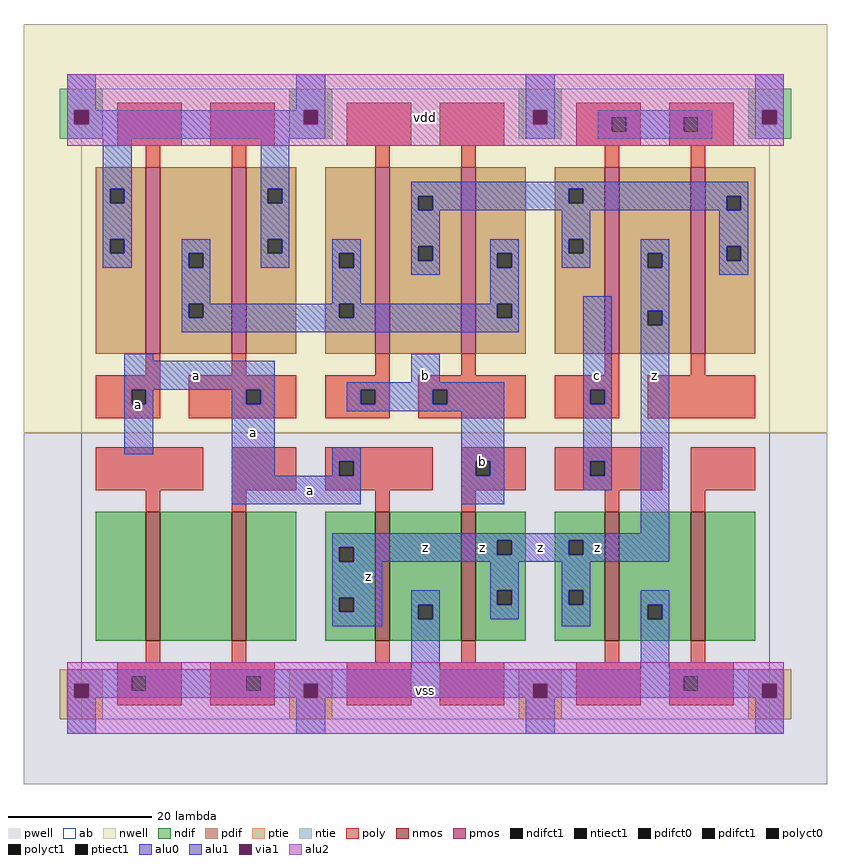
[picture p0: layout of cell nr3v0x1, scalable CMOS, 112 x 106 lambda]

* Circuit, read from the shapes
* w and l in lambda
.subckt nr3v0x1 a b c vdd vss z
M1 n1 vss n2 vss nfet w=18 l=2
M2 n3 vss n1 vss nfet w=18 l=2
M3 vss a z vss nfet w=18 l=2
M4 z b vss vss nfet w=18 l=2
M5 vss c z vss nfet w=18 l=2
M6 n4 vss vss vss nfet w=18 l=2
M7 n5 a vdd vdd pfet w=26 l=2 m=2
M8 n6 b n5 vdd pfet w=26 l=2 m=2
M9 z c n6 vdd pfet w=26 l=2 m=2
.ends

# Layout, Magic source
magic
tech scmos
<< ab >>
rect 0 0 96 88
<< nwell >>
rect -8 40 104 97
<< pwell >>
rect -8 -9 104 40
<< poly >>
rect 5 80 14 86
rect 18 80 27 86
rect 37 80 46 86
rect 50 80 59 86
rect 69 84 78 86
rect 69 82 74 84
rect 76 82 78 84
rect 69 80 78 82
rect 82 84 91 86
rect 82 82 84 84
rect 86 82 91 84
rect 82 80 91 82
rect 9 77 11 80
rect 21 77 23 80
rect 41 77 43 80
rect 53 77 55 80
rect 73 77 75 80
rect 85 77 87 80
rect 9 48 11 51
rect 21 48 23 51
rect 41 48 43 51
rect 53 48 55 51
rect 73 48 75 51
rect 85 48 87 51
rect 2 46 11 48
rect 2 44 7 46
rect 9 44 11 46
rect 2 42 11 44
rect 15 46 30 48
rect 15 44 23 46
rect 25 44 30 46
rect 15 42 30 44
rect 34 46 43 48
rect 34 44 39 46
rect 41 44 43 46
rect 34 42 43 44
rect 47 46 62 48
rect 47 44 49 46
rect 51 44 62 46
rect 47 42 62 44
rect 66 46 75 48
rect 66 44 71 46
rect 73 44 75 46
rect 66 42 75 44
rect 79 42 94 48
rect 2 32 17 38
rect 21 32 30 38
rect 34 36 49 38
rect 34 34 36 36
rect 38 34 49 36
rect 34 32 49 34
rect 53 36 62 38
rect 53 34 55 36
rect 57 34 62 36
rect 53 32 62 34
rect 66 36 81 38
rect 66 34 71 36
rect 73 34 81 36
rect 66 32 81 34
rect 85 32 94 38
rect 9 29 11 32
rect 21 29 23 32
rect 41 29 43 32
rect 53 29 55 32
rect 73 29 75 32
rect 85 29 87 32
rect 9 8 11 11
rect 21 8 23 11
rect 41 8 43 11
rect 53 8 55 11
rect 73 8 75 11
rect 85 8 87 11
rect 5 6 14 8
rect 5 4 7 6
rect 9 4 14 6
rect 5 2 14 4
rect 18 6 27 8
rect 18 4 23 6
rect 25 4 27 6
rect 18 2 27 4
rect 37 2 46 8
rect 50 2 59 8
rect 69 2 78 8
rect 82 6 91 8
rect 82 4 84 6
rect 86 4 91 6
rect 82 2 91 4
<< ndif >>
rect 2 11 9 29
rect 11 11 21 29
rect 23 11 30 29
rect 34 24 41 29
rect 34 22 36 24
rect 38 22 41 24
rect 34 17 41 22
rect 34 15 36 17
rect 38 15 41 17
rect 34 11 41 15
rect 43 16 53 29
rect 43 14 47 16
rect 49 14 53 16
rect 43 11 53 14
rect 55 25 62 29
rect 55 23 58 25
rect 60 23 62 25
rect 55 18 62 23
rect 55 16 58 18
rect 60 16 62 18
rect 55 11 62 16
rect 66 25 73 29
rect 66 23 68 25
rect 70 23 73 25
rect 66 18 73 23
rect 66 16 68 18
rect 70 16 73 18
rect 66 11 73 16
rect 75 16 85 29
rect 75 14 79 16
rect 81 14 85 16
rect 75 11 85 14
rect 87 11 94 29
<< pdif >>
rect 2 74 9 77
rect 2 72 4 74
rect 6 72 9 74
rect 2 67 9 72
rect 2 65 4 67
rect 6 65 9 67
rect 2 51 9 65
rect 11 65 21 77
rect 11 63 15 65
rect 17 63 21 65
rect 11 58 21 63
rect 11 56 15 58
rect 17 56 21 58
rect 11 51 21 56
rect 23 74 30 77
rect 23 72 26 74
rect 28 72 30 74
rect 23 67 30 72
rect 23 65 26 67
rect 28 65 30 67
rect 23 51 30 65
rect 34 65 41 77
rect 34 63 36 65
rect 38 63 41 65
rect 34 58 41 63
rect 34 56 36 58
rect 38 56 41 58
rect 34 51 41 56
rect 43 73 53 77
rect 43 71 47 73
rect 49 71 53 73
rect 43 66 53 71
rect 43 64 47 66
rect 49 64 53 66
rect 43 51 53 64
rect 55 65 62 77
rect 55 63 58 65
rect 60 63 62 65
rect 55 58 62 63
rect 55 56 58 58
rect 60 56 62 58
rect 55 51 62 56
rect 66 74 73 77
rect 66 72 68 74
rect 70 72 73 74
rect 66 67 73 72
rect 66 65 68 67
rect 70 65 73 67
rect 66 51 73 65
rect 75 65 85 77
rect 75 63 79 65
rect 81 63 85 65
rect 75 57 85 63
rect 75 55 79 57
rect 81 55 85 57
rect 75 51 85 55
rect 87 73 94 77
rect 87 71 90 73
rect 92 71 94 73
rect 87 66 94 71
rect 87 64 90 66
rect 92 64 94 66
rect 87 51 94 64
<< alu1 >>
rect -2 85 2 90
rect 30 85 34 90
rect -2 83 -1 85
rect 1 83 31 85
rect 33 83 34 85
rect -2 81 34 83
rect 62 85 66 90
rect 94 85 98 90
rect 62 83 63 85
rect 65 83 66 85
rect 62 81 66 83
rect 94 83 95 85
rect 97 83 98 85
rect 94 81 98 83
rect 3 74 7 81
rect 3 72 4 74
rect 6 72 7 74
rect 3 67 7 72
rect 25 74 29 81
rect 25 72 26 74
rect 28 72 29 74
rect 25 67 29 72
rect 3 65 4 67
rect 6 65 7 67
rect 3 63 7 65
rect 25 65 26 67
rect 28 65 29 67
rect 25 63 29 65
rect 78 65 82 67
rect 78 63 79 65
rect 81 63 82 65
rect 6 50 10 51
rect 6 46 27 50
rect 46 47 50 51
rect 6 44 7 46
rect 9 44 10 46
rect 6 37 10 44
rect 21 44 23 46
rect 25 44 27 46
rect 21 34 27 44
rect 37 46 59 47
rect 37 44 39 46
rect 41 44 49 46
rect 51 44 59 46
rect 37 43 59 44
rect 35 36 39 38
rect 35 34 36 36
rect 38 34 39 36
rect 21 30 39 34
rect 53 36 59 43
rect 53 34 55 36
rect 57 34 59 36
rect 53 30 59 34
rect 70 46 74 59
rect 70 44 71 46
rect 73 44 74 46
rect 70 36 74 44
rect 70 34 71 36
rect 73 34 74 36
rect 70 32 74 34
rect 78 57 82 63
rect 78 55 79 57
rect 81 55 82 57
rect 78 26 82 55
rect 35 25 82 26
rect 35 24 58 25
rect 35 22 36 24
rect 38 23 58 24
rect 60 23 68 25
rect 70 23 82 25
rect 38 22 82 23
rect 35 17 42 22
rect 57 18 61 22
rect 35 15 36 17
rect 38 15 42 17
rect 35 13 42 15
rect 46 16 50 18
rect 46 14 47 16
rect 49 14 50 16
rect 57 16 58 18
rect 60 16 61 18
rect 57 14 61 16
rect 67 18 71 22
rect 67 16 68 18
rect 70 16 71 18
rect 46 7 50 14
rect 67 13 71 16
rect 78 16 82 18
rect 78 14 79 16
rect 81 14 82 16
rect 78 7 82 14
rect -2 6 98 7
rect -2 5 7 6
rect -2 3 -1 5
rect 1 4 7 5
rect 9 4 23 6
rect 25 5 84 6
rect 25 4 31 5
rect 1 3 31 4
rect 33 3 63 5
rect 65 4 84 5
rect 86 5 98 6
rect 86 4 95 5
rect 65 3 95 4
rect 97 3 98 5
rect -2 -2 2 3
rect 30 -2 34 3
rect 62 -2 66 3
rect 94 -2 98 3
<< alu2 >>
rect -2 85 98 90
rect -2 83 -1 85
rect 1 83 31 85
rect 33 83 63 85
rect 65 83 95 85
rect 97 83 98 85
rect -2 80 98 83
rect -2 5 98 8
rect -2 3 -1 5
rect 1 3 31 5
rect 33 3 63 5
rect 65 3 95 5
rect 97 3 98 5
rect -2 -2 98 3
<< ptie >>
rect -3 5 3 7
rect -3 3 -1 5
rect 1 3 3 5
rect -3 0 3 3
rect 29 5 35 7
rect 29 3 31 5
rect 33 3 35 5
rect 29 0 35 3
rect 61 5 67 7
rect 61 3 63 5
rect 65 3 67 5
rect 61 0 67 3
rect 93 5 99 7
rect 93 3 95 5
rect 97 3 99 5
rect 93 0 99 3
<< ntie >>
rect -3 85 3 88
rect -3 83 -1 85
rect 1 83 3 85
rect -3 81 3 83
rect 29 85 35 88
rect 29 83 31 85
rect 33 83 35 85
rect 29 81 35 83
rect 61 85 67 88
rect 61 83 63 85
rect 65 83 67 85
rect 61 81 67 83
rect 93 85 99 88
rect 93 83 95 85
rect 97 83 99 85
rect 93 81 99 83
<< nmos >>
rect 9 11 11 29
rect 21 11 23 29
rect 41 11 43 29
rect 53 11 55 29
rect 73 11 75 29
rect 85 11 87 29
<< pmos >>
rect 9 51 11 77
rect 21 51 23 77
rect 41 51 43 77
rect 53 51 55 77
rect 73 51 75 77
rect 85 51 87 77
<< polyct0 >>
rect 74 82 76 84
rect 84 82 86 84
<< polyct1 >>
rect 7 44 9 46
rect 23 44 25 46
rect 39 44 41 46
rect 49 44 51 46
rect 71 44 73 46
rect 36 34 38 36
rect 55 34 57 36
rect 71 34 73 36
rect 7 4 9 6
rect 23 4 25 6
rect 84 4 86 6
<< ndifct1 >>
rect 36 22 38 24
rect 36 15 38 17
rect 47 14 49 16
rect 58 23 60 25
rect 58 16 60 18
rect 68 23 70 25
rect 68 16 70 18
rect 79 14 81 16
<< ntiect1 >>
rect -1 83 1 85
rect 31 83 33 85
rect 63 83 65 85
rect 95 83 97 85
<< ptiect1 >>
rect -1 3 1 5
rect 31 3 33 5
rect 63 3 65 5
rect 95 3 97 5
<< pdifct0 >>
rect 15 63 17 65
rect 15 56 17 58
rect 36 63 38 65
rect 36 56 38 58
rect 47 71 49 73
rect 47 64 49 66
rect 58 63 60 65
rect 58 56 60 58
rect 68 72 70 74
rect 68 65 70 67
rect 90 71 92 73
rect 90 64 92 66
<< pdifct1 >>
rect 4 72 6 74
rect 4 65 6 67
rect 26 72 28 74
rect 26 65 28 67
rect 79 63 81 65
rect 79 55 81 57
<< alu0 >>
rect 72 84 88 85
rect 72 82 74 84
rect 76 82 84 84
rect 86 82 88 84
rect 72 81 88 82
rect 46 74 93 75
rect 46 73 68 74
rect 46 71 47 73
rect 49 72 68 73
rect 70 73 93 74
rect 70 72 90 73
rect 49 71 90 72
rect 92 71 93 73
rect 14 65 18 67
rect 14 63 15 65
rect 17 63 18 65
rect 35 65 39 67
rect 35 63 36 65
rect 38 63 39 65
rect 14 58 18 63
rect 35 58 39 63
rect 46 66 50 71
rect 67 67 71 71
rect 46 64 47 66
rect 49 64 50 66
rect 46 62 50 64
rect 57 65 61 67
rect 57 63 58 65
rect 60 63 61 65
rect 67 65 68 67
rect 70 65 71 67
rect 67 63 71 65
rect 57 58 61 63
rect 14 56 15 58
rect 17 56 36 58
rect 38 56 58 58
rect 60 56 61 58
rect 14 54 61 56
rect 89 66 93 71
rect 89 64 90 66
rect 92 64 93 66
rect 89 62 93 64
<< via1 >>
rect -1 83 1 85
rect 31 83 33 85
rect 63 83 65 85
rect 95 83 97 85
rect -1 3 1 5
rect 31 3 33 5
rect 63 3 65 5
rect 95 3 97 5
<< labels >>
rlabel alu1 8 44 8 44 6 a
rlabel alu1 16 48 16 48 6 a
rlabel alu1 40 20 40 20 6 z
rlabel alu1 24 40 24 40 6 a
rlabel alu1 32 32 32 32 6 a
rlabel alu1 56 24 56 24 6 z
rlabel alu1 64 24 64 24 6 z
rlabel alu1 48 24 48 24 6 z
rlabel alu1 56 36 56 36 6 b
rlabel alu1 48 48 48 48 6 b
rlabel alu1 72 24 72 24 6 z
rlabel alu1 80 48 80 48 6 z
rlabel alu1 72 48 72 48 6 c
rlabel alu2 48 4 48 4 6 vss
rlabel alu2 48 84 48 84 6 vdd
<< end >>
